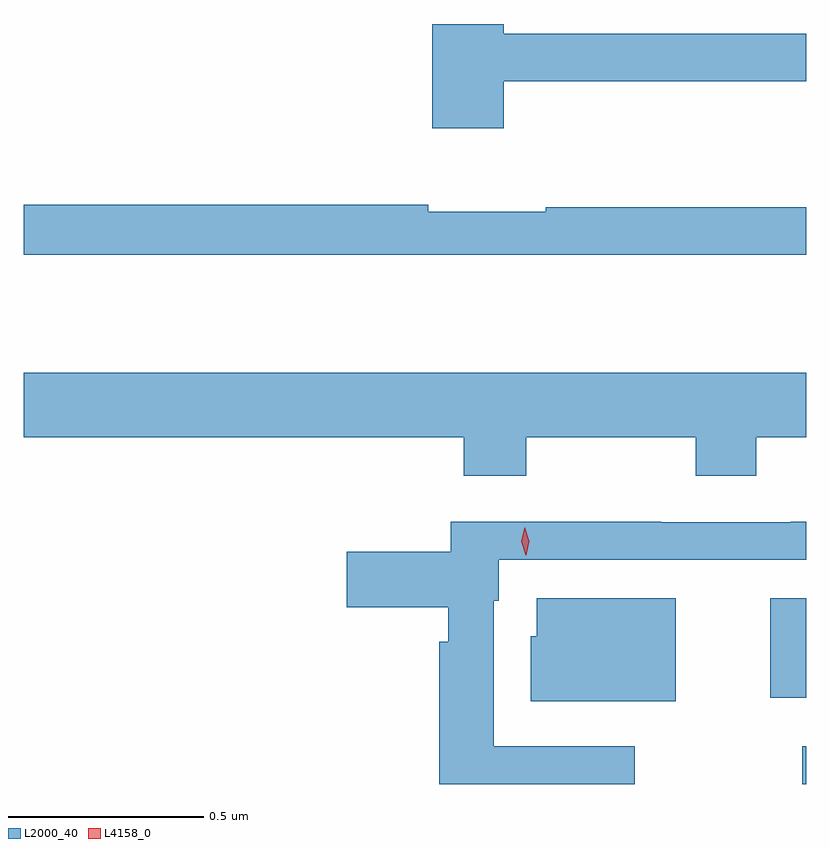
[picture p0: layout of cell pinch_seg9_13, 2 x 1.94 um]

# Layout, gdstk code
import gdstk
lib = gdstk.Library(unit=1e-6, precision=1e-09)
def R(c, l, rs):  # rectangles x0, y0, x1, y1
    for r in rs: c.add(gdstk.rectangle(r[:2], r[2:], *l))
def P(c, l, *ps):  # polygons
    for p in ps: c.add(gdstk.Polygon(p, *l))
L2000_40 = (2000, 40)
L4158_0 = (4158, 0)

pinch_seg9_13 = lib.new_cell('pinch_seg9_13')
R(pinch_seg9_13, L2000_40, [(1023.642,1219.509,1023.652,1219.605), (1023.56,1219.73,1023.652,1219.984)])
P(pinch_seg9_13, L2000_40, [(1022.879,1221.306),(1023.652,1221.306),(1023.652,1221.427),(1022.879,1221.427),(1022.879,1221.452),(1022.696,1221.452),(1022.696,1221.186),(1022.879,1221.186)],
  [(1023.652,1220.983),(1022.986,1220.983),(1022.986,1220.972),(1022.686,1220.972),(1022.686,1220.99),(1021.652,1220.99),(1021.652,1220.862),(1023.652,1220.862)],
  [(1022.937,1220.396),(1023.37,1220.396),(1023.37,1220.297),(1023.525,1220.297),(1023.525,1220.396),(1023.652,1220.396),(1023.652,1220.56),(1021.652,1220.56),(1021.652,1220.396),(1022.777,1220.396),(1022.777,1220.297),(1022.937,1220.297)],
  [(1023.214,1219.605),(1022.853,1219.605),(1022.853,1219.977),(1022.866,1219.977),(1022.866,1220.082),(1023.652,1220.082),(1023.652,1220.18),(1023.613,1220.18),(1023.613,1220.178),(1023.281,1220.178),(1023.281,1220.18),(1022.744,1220.18),(1022.744,1220.103),(1022.478,1220.103),(1022.478,1219.961),(1022.737,1219.961),(1022.737,1219.873),(1022.714,1219.873),(1022.714,1219.509),(1023.214,1219.509)],
  [(1023.319,1219.984),(1022.963,1219.984),(1022.963,1219.887),(1022.948,1219.887),(1022.948,1219.721),(1023.319,1219.721)])
P(pinch_seg9_13, L4158_0, [(1022.935,1220.094),(1022.935,1220.094),(1022.924,1220.13),(1022.933,1220.166),(1022.933,1220.166),(1022.933,1220.166),(1022.944,1220.13),(1022.936,1220.094)])

lib.write_gds('pinch_seg9_13.gds')
